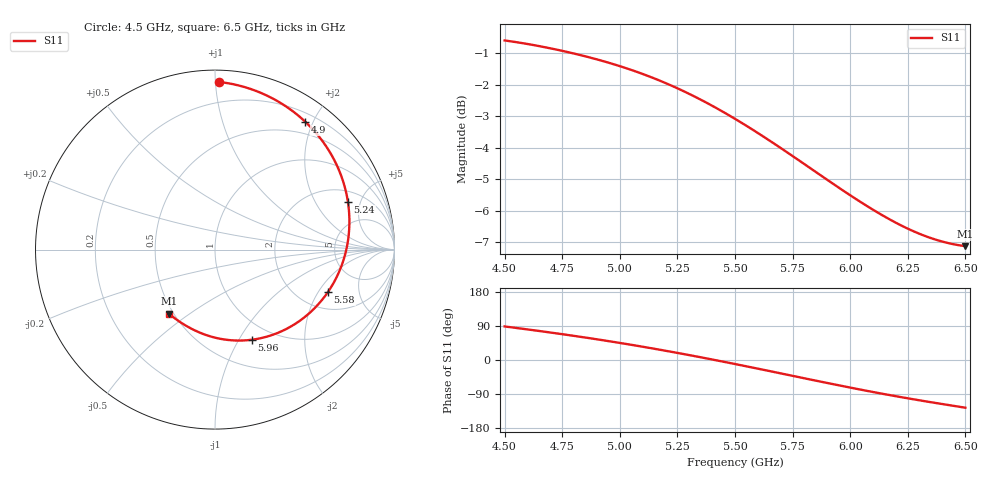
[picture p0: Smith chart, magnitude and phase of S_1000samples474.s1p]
! TOUCHSTONE file generated by CST MICROWAVE STUDIO
! Date and time: Fri Oct 28 07:07:17 2022
! Project name: L.cst
! Parameters = {Di=1.27; Epsilon_r=1.56; InnerDiameter=1.27; Length=2; Lf=10; Lg=60; OuterConductorThickness=0.2921; OuterDiameter=3.6; Wf=3; Wp=41.2; de=1.5; df=6.8; g=0.8; gx=2.20374; gy=3.44389; h=2.34; hf=1.524; px=11.1796; py=11.5038; w=9.7; wx=8.97583; wy=8.05992}
! Header version: 2018
! Port assignment regex: !\s*Touchstone port\s*([0-9]+)\s*=\s*(CST MWS port|CST DS port)\s*([0-9]+|Zmin|Zmax)\s*\(\"(.*)\"\)(\s*mode\s*([0-9]+))?.*
! Touchstone port assignment:
! Touchstone port 1 = CST MWS port 1 ("")
# GHz S DB R 50
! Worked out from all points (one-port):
!   101 points, 4.5 GHz to 6.5 GHz, reference 50 ohm
!   lowest |S11| = -7.1 dB at 6.5 GHz (marker M1), VSWR 2.57, Z = 23.6 - j20.8 ohm
!   |S11| at or under -10 dB: nowhere
!   S11 on the Smith chart (normalised r, x): 4.5 GHz: 0.07, +1.02; 4.9 GHz: 0.32, +1.89; 5.24 GHz: 2.74, +3.85; 5.58 GHz: 2.85, -2.45; 5.96 GHz: 0.80, -1.13; 6.5 GHz: 0.47, -0.42
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4.5  -0.59 88.5
4.58  -0.68 82.3
4.64  -0.76 77.4
4.7  -0.84 72.4
4.76  -0.94 67.3
4.84  -1.08 60.2
4.9  -1.19 54.7
5  -1.41 45.1
5.06  -1.55 39.0
5.12  -1.71 32.8
5.18  -1.89 26.4
5.24  -2.08 19.8
5.26  -2.15 17.6
5.32  -2.36 10.8
5.38  -2.59 3.8
5.44  -2.83 -3.3
5.5  -3.08 -10.6
5.58  -3.45 -20.5
5.68  -3.92 -33.0
5.76  -4.32 -43.1
5.8  -4.52 -48.1
5.86  -4.82 -55.6
5.96  -5.32 -68.0
6  -5.51 -72.8
6.12  -6.07 -86.8
6.26  -6.61 -102.1
6.38  -6.95 -114.3
6.5  -7.13 -125.9
